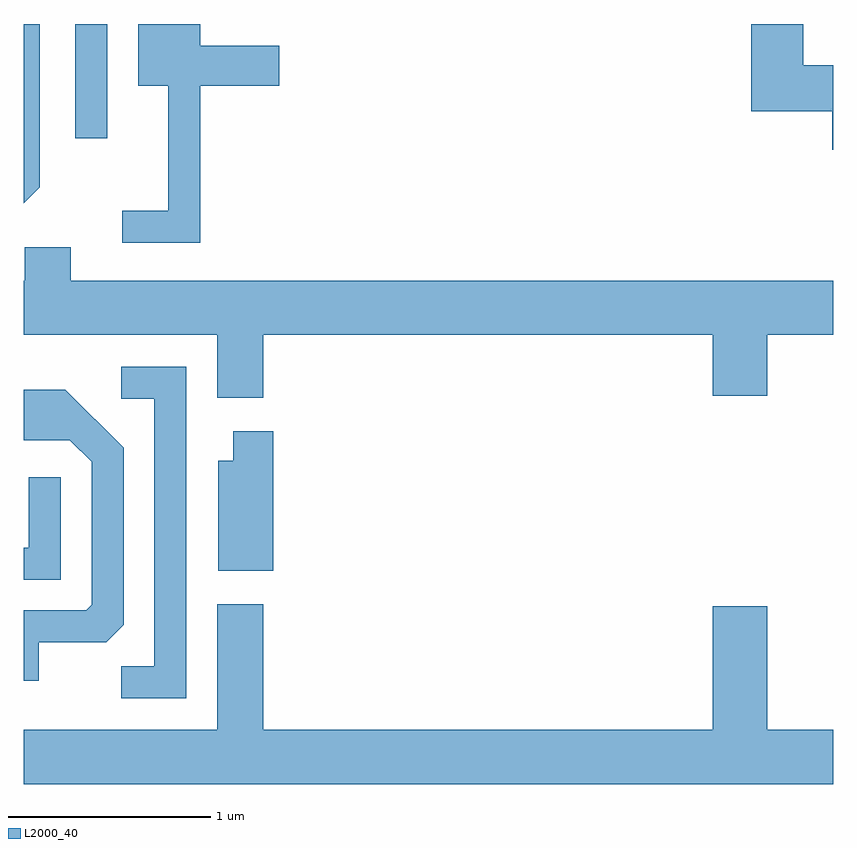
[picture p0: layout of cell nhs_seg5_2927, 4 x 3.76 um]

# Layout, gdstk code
import gdstk
lib = gdstk.Library(unit=1e-6, precision=1e-09)
def R(c, l, rs):  # rectangles x0, y0, x1, y1
    for r in rs: c.add(gdstk.rectangle(r[:2], r[2:], *l))
def P(c, l, *ps):  # polygons
    for p in ps: c.add(gdstk.Polygon(p, *l))
L2000_40 = (2000, 40)

nhs_seg5_2927 = lib.new_cell('nhs_seg5_2927')
R(nhs_seg5_2927, L2000_40, [(271.866,1495.508,272.024,1496.072)])
P(nhs_seg5_2927, L2000_40, [(275.611,1495.869),(275.464,1495.869),(275.464,1496.072),(275.206,1496.072),(275.206,1495.641),(275.606,1495.641),(275.606,1495.451),(275.611,1495.451)],
  [(272.484,1495.766),(272.874,1495.766),(272.874,1495.964),(272.484,1495.964),(272.484,1496.072),(272.176,1496.072),(272.176,1495.766),(272.326,1495.766),(272.326,1495.149),(272.098,1495.149),(272.098,1494.991),(272.484,1494.991)],
  [(271.689,1495.264),(271.689,1496.072),(271.611,1496.072),(271.611,1495.186)],
  [(272.794,1494.536),(275.016,1494.536),(275.016,1494.236),(275.284,1494.236),(275.284,1494.536),(275.611,1494.536),(275.611,1494.804),(271.844,1494.804),(271.844,1494.969),(271.616,1494.969),(271.616,1494.804),(271.611,1494.804),(271.611,1494.536),(272.566,1494.536),(272.566,1494.226),(272.794,1494.226)],
  [(272.414,1494.379),(272.093,1494.379),(272.093,1494.221),(272.256,1494.221),(272.256,1492.899),(272.093,1492.899),(272.093,1492.741),(272.414,1492.741)],
  [(271.684,1493.016),(272.019,1493.016),(272.104,1493.102),(272.104,1493.977),(271.817,1494.264),(271.611,1494.264),(271.611,1494.016),(271.839,1494.016),(271.946,1493.909),(271.946,1493.202),(271.919,1493.174),(271.611,1493.174),(271.611,1492.826),(271.684,1492.826)],
  [(272.844,1494.059),(272.646,1494.059),(272.646,1493.914),(272.571,1493.914),(272.571,1493.371),(272.844,1493.371)],
  [(271.794,1493.833),(271.636,1493.833),(271.636,1493.484),(271.611,1493.484),(271.611,1493.326),(271.794,1493.326)],
  [(275.611,1492.584),(275.284,1492.584),(275.284,1493.194),(275.016,1493.194),(275.016,1492.584),(272.794,1492.584),(272.794,1493.204),(272.566,1493.204),(272.566,1492.584),(271.611,1492.584),(271.611,1492.316),(275.611,1492.316)])

lib.write_gds('nhs_seg5_2927.gds')
